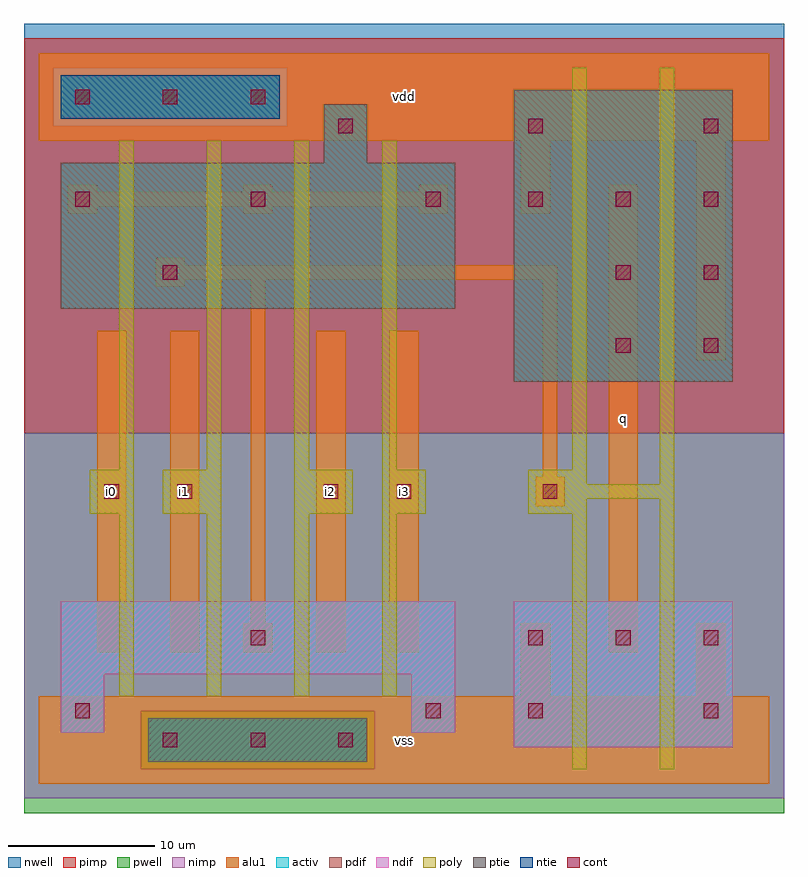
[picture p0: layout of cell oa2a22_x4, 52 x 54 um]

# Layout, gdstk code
import gdstk
lib = gdstk.Library(unit=1e-6, precision=1e-09)
def R(c, l, rs):  # rectangles x0, y0, x1, y1
    for r in rs: c.add(gdstk.rectangle(r[:2], r[2:], *l))
def A(c, l, x, y, w, h, nx, ny, dx, dy):  # array of equal rectangles
    R(c, l, [(x+i*dx, y+j*dy, x+i*dx+w, y+j*dy+h) for i in range(nx) for j in range(ny)])
ndif = (3, 0)
pdif = (4, 0)
ntie = (5, 0)
ptie = (6, 0)
cont = (25, 0)
pwell = (41, 0)
nwell = (42, 0)
activ = (43, 0)
pimp = (44, 0)
nimp = (45, 0)
poly = (46, 0)
alu1 = (49, 0)

oa2a22_x4 = lib.new_cell('oa2a22_x4')
R(oa2a22_x4, ndif, [(32.5,2.5,47.5,12.5), (1.5,3.5,4.5,7.5), (25.5,3.5,28.5,7.5), (1.5,7.5,28.5,12.5)])
R(oa2a22_x4, pdif, [(32.5,27.5,47.5,47.5), (1.5,32.5,28.5,42.5), (19.5,42.5,22.5,46.5)])
R(oa2a22_x4, ntie, [(1.5,45.5,16.5,48.5)])
R(oa2a22_x4, ptie, [(7.5,1.5,22.5,4.5)])
A(oa2a22_x4, cont, 8.5, 2.5, 1, 1, 3, 1, 6, 0)
A(oa2a22_x4, cont, 33.5, 9.5, 1, 1, 3, 2, 6, 30)
A(oa2a22_x4, cont, 2.5, 39.5, 1, 1, 3, 1, 12, 0)
A(oa2a22_x4, cont, 2.5, 46.5, 1, 1, 3, 1, 6, 0)
R(oa2a22_x4, cont, [(2.5,4.5,3.5,5.5), (26.5,4.5,27.5,5.5), (33.5,4.5,34.5,5.5), (45.5,4.5,46.5,5.5), (14.5,9.5,15.5,10.5), (4.5,19.5,5.5,20.5), (9.5,19.5,10.5,20.5), (19.5,19.5,20.5,20.5), (24.5,19.5,25.5,20.5), (34.5,19.5,35.5,20.5), (39.5,29.5,40.5,30.5), (45.5,29.5,46.5,30.5), (8.5,34.5,9.5,35.5), (39.5,34.5,40.5,35.5), (45.5,34.5,46.5,35.5), (20.5,44.5,21.5,45.5), (33.5,44.5,34.5,45.5), (45.5,44.5,46.5,45.5)])
R(oa2a22_x4, pwell, [(-1,-2,51,24)])
R(oa2a22_x4, nwell, [(-1,24,51,52)])
R(oa2a22_x4, activ, [(7.5,1.5,22.5,4.5), (32.5,2.5,47.5,12.5), (1.5,3.5,4.5,7.5), (25.5,3.5,28.5,7.5), (1.5,7.5,28.5,12.5), (32.5,27.5,47.5,47.5), (1.5,32.5,28.5,42.5), (19.5,42.5,22.5,46.5), (1.5,45.5,16.5,48.5)])
R(oa2a22_x4, pimp, [(7,1,23,5), (-1,24,51,45), (-1,45,1,49), (17,45,51,49), (-1,49,51,51)])
R(oa2a22_x4, nimp, [(-1,-1,51,1), (-1,1,7,5), (23,1,51,5), (-1,5,51,24), (1,45,17,49)])
A(oa2a22_x4, poly, 5.5, 6, 1, 12.5, 4, 1, 6, 0)
A(oa2a22_x4, poly, 5.5, 21.5, 1, 22.5, 4, 1, 6, 0)
R(oa2a22_x4, poly, [(36.5,1,37.5,18.5), (42.5,1,43.5,19.5), (3.5,18.5,6.5,21.5), (8.5,18.5,12.5,21.5), (17.5,18.5,21.5,21.5), (23.5,18.5,26.5,21.5), (33.5,18.5,37.5,19.5), (33.5,19.5,43.5,20.5), (33.5,20.5,37.5,21.5), (42.5,20.5,43.5,49), (36.5,21.5,37.5,49)])
A(oa2a22_x4, alu1, 2, 39, 2, 0.5, 3, 2, 12, 1.5)
R(oa2a22_x4, alu1, [(0,0,50,6), (33,6,35,11), (45,6,47,11), (4,9,6,31), (9,9,11,31), (14,9,16,11), (19,9,21,31), (24,9,26,31), (39,9,41,41), (14.5,11,15.5,34.5), (34,19,36,21), (34.5,21,35.5,34.5), (45,29,47,44), (8,34,10,34.5), (8,34.5,35.5,35.5), (8,35.5,10,36), (33,39,35,44), (2,39.5,28,40.5), (0,44,50,50)])
oa2a22_x4.add(gdstk.Label('i1', (10,20), layer=49, texttype=0))
oa2a22_x4.add(gdstk.Label('i0', (5,20), layer=49, texttype=0))
oa2a22_x4.add(gdstk.Label('i2', (20,20), layer=49, texttype=0))
oa2a22_x4.add(gdstk.Label('vss', (25,3), layer=49, texttype=0))
oa2a22_x4.add(gdstk.Label('i3', (25,20), layer=49, texttype=0))
oa2a22_x4.add(gdstk.Label('vdd', (25,47), layer=49, texttype=0))
oa2a22_x4.add(gdstk.Label('q', (40,25), layer=49, texttype=0))

lib.write_gds('oa2a22_x4.gds')
